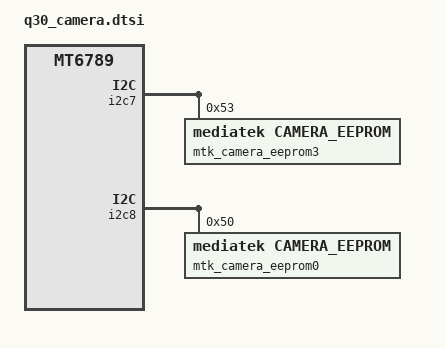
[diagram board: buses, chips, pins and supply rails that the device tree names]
#include "mediatek/cust_mt6789_camera.dtsi"
#include "mediatek/cust_mt6789_camera_v4l2.dtsi"

&kd_camera_hw1 {
	cam0_enable_sensor = "s5kjn1_mipi_raw ov64b40_mipi_raw";
	cam1_enable_sensor = "imx111_mipi_raw imx134_mipi_raw";
};

&i2c7 {
	mtk_camera_eeprom3: camera_eeprom3@53 {
		compatible = "mediatek,camera_eeprom";
		reg = <0x53>;
		status = "okay";
	};
};

&i2c8 {
	mtk_camera_eeprom0: camera_eeprom0@50 {
		compatible = "mediatek,camera_eeprom";
		reg = <0x50>;
		status = "okay";
	};
};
